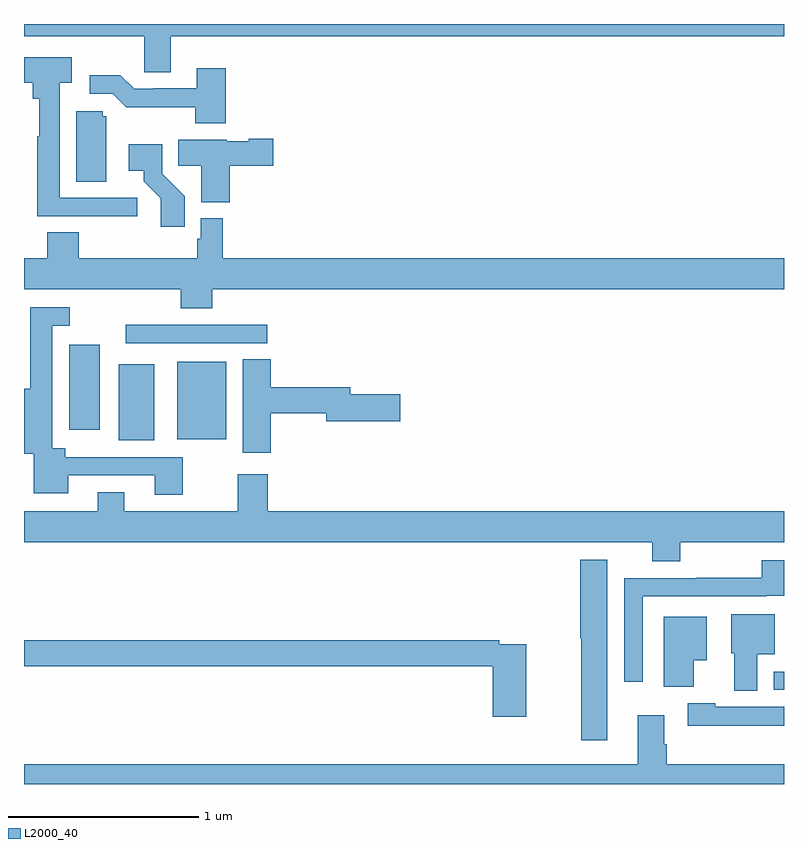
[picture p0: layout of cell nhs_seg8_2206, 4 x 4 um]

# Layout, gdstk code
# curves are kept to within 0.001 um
import gdstk
lib = gdstk.Library(unit=1e-6, precision=1e-09)
def R(c, l, rs):  # rectangles x0, y0, x1, y1
    for r in rs: c.add(gdstk.rectangle(r[:2], r[2:], *l))
def P(c, l, *ps):  # polygons
    for p in ps: c.add(gdstk.Polygon(p, *l))
L2000_40 = (2000, 40)

nhs_seg8_2206 = lib.new_cell('nhs_seg8_2206')
R(nhs_seg8_2206, L2000_40, [(254.945,1110.396,255,1110.492), (251.498,1111.709,251.686,1112.11), (251.807,1111.715,252.064,1112.122), (251.237,1111.764,251.398,1112.212), (251.535,1112.22,252.28,1112.316)])
P(nhs_seg8_2206, L2000_40, [(251.773,1113.836),(255,1113.836),(255,1113.9),(251,1113.9),(251,1113.836),(251.634,1113.836),(251.634,1113.646),(251.773,1113.646)],
  [(251.596,1112.985),(251.187,1112.985),(251.187,1113.59),(251.251,1113.59),(251.251,1113.724),(251,1113.724),(251,1113.59),(251.047,1113.59),(251.047,1113.506),(251.079,1113.506),(251.079,1113.31),(251.071,1113.31),(251.071,1112.889),(251.371,1112.889),(251.371,1112.887),(251.596,1112.887)],
  [(252.062,1113.667),(251.909,1113.667),(251.909,1113.561),(251.68,1113.561),(251.68,1113.558),(251.58,1113.558),(251.507,1113.631),(251.346,1113.631),(251.346,1113.534),(251.466,1113.534),(251.539,1113.461),(251.902,1113.462),(251.902,1113.377),(252.062,1113.377)],
  [(251.434,1113.414),(251.415,1113.414),(251.415,1113.441),(251.276,1113.441),(251.276,1113.07),(251.434,1113.07)],
  [(252.083,1113.154),(252.313,1113.154),(252.313,1113.296),(252.183,1113.296),(252.183,1113.283),(252.066,1113.283),(252.066,1113.292),(251.812,1113.292),(251.812,1113.154),(251.933,1113.154),(251.933,1112.963),(252.083,1112.963)],
  [(251.846,1112.994),(251.727,1113.113),(251.727,1113.268),(251.55,1113.268),(251.55,1113.128),(251.63,1113.128),(251.63,1113.073),(251.721,1112.983),(251.721,1112.832),(251.846,1112.832)],
  [(251.99,1112.504),(255,1112.504),(255,1112.668),(252.047,1112.668),(252.047,1112.878),(251.931,1112.878),(251.931,1112.769),(251.911,1112.769),(251.911,1112.668),(251.288,1112.668),(251.288,1112.804),(251.123,1112.804),(251.123,1112.668),(251,1112.668),(251,1112.504),(251.825,1112.504),(251.825,1112.405),(251.99,1112.405)],
  [(251.835,1111.62),(251.218,1111.62),(251.218,1111.666),(251.149,1111.666),(251.149,1111.877),(251.148,1111.877),(251.148,1112.313),(251.242,1112.313),(251.242,1112.409),(251.032,1112.409),(251.032,1111.981),(251,1111.981),(251,1111.637),(251.051,1111.637),(251.051,1111.43),(251.233,1111.43),(251.233,1111.524),(251.687,1111.524),(251.687,1111.422),(251.835,1111.422)],
  [(252.299,1111.852),(252.59,1111.852),(252.59,1111.81),(252.979,1111.81),(252.979,1111.952),(252.718,1111.952),(252.718,1111.988),(252.299,1111.988),(252.299,1112.135),(252.152,1112.135),(252.152,1111.644),(252.299,1111.644)],
  [(254.454,1111.172),(255,1111.172),(255,1111.336),(252.284,1111.336),(252.284,1111.531),(252.124,1111.531),(252.124,1111.336),(251.527,1111.336),(251.527,1111.435),(251.387,1111.435),(251.387,1111.336),(251,1111.336),(251,1111.172),(254.306,1111.172),(254.306,1111.073),(254.454,1111.073)],
  [(254.071,1111.081),(253.928,1111.081),(253.928,1110.668),(253.933,1110.668),(253.933,1110.129),(254.071,1110.129)],
  [(254.256,1110.888),(254.906,1110.888),(254.906,1110.891),(255,1110.891),(255,1111.078),(254.884,1111.078),(254.884,1110.986),(254.542,1110.986),(254.542,1110.984),(254.16,1110.984),(254.16,1110.438),(254.256,1110.438)],
  [(254.86,1110.584),(254.95,1110.584),(254.95,1110.793),(254.723,1110.793),(254.723,1110.588),(254.738,1110.588),(254.738,1110.392),(254.86,1110.392)],
  [(254.524,1110.551),(254.593,1110.551),(254.593,1110.781),(254.366,1110.781),(254.366,1110.411),(254.524,1110.411)],
  [(253.644,1110.636),(253.502,1110.636),(253.502,1110.656),(251,1110.656),(251,1110.52),(253.466,1110.52),(253.466,1110.255),(253.644,1110.255)],
  [(255,1110.307),(254.637,1110.307),(254.637,1110.325),(254.493,1110.325),(254.493,1110.206),(255,1110.206)],
  [(255,1110.004),(254.384,1110.004),(254.384,1110.11),(254.371,1110.11),(254.371,1110.262),(254.231,1110.262),(254.231,1110.004),(251,1110.004),(251,1109.9),(255,1109.9)])

lib.write_gds('nhs_seg8_2206.gds')
